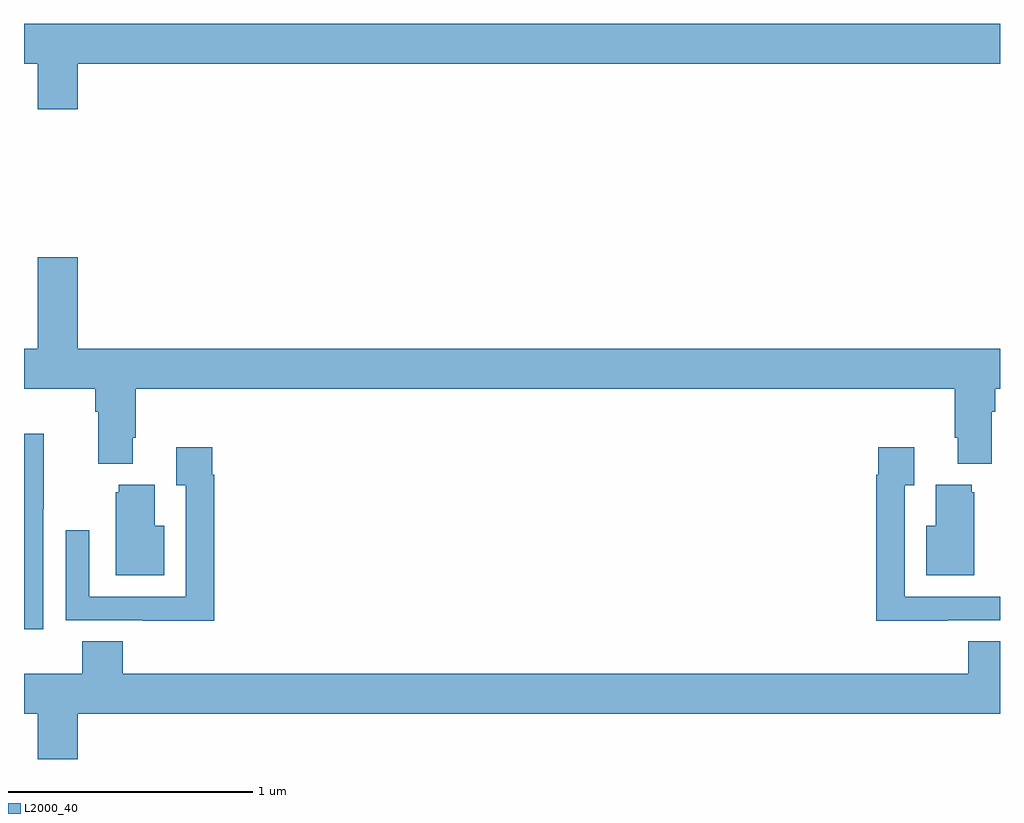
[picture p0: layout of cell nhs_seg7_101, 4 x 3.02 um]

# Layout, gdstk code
import gdstk
lib = gdstk.Library(unit=1e-6, precision=1e-09)
def P(c, l, *ps):  # polygons
    for p in ps: c.add(gdstk.Polygon(p, *l))
L2000_40 = (2000, 40)

nhs_seg7_101 = lib.new_cell('nhs_seg7_101')
P(nhs_seg7_101, L2000_40, [(117.22,1067.216),(121,1067.216),(121,1067.38),(117,1067.38),(117,1067.216),(117.056,1067.216),(117.056,1067.028),(117.22,1067.028)],
  [(117.22,1066.423),(117.056,1066.423),(117.056,1066.048),(117,1066.048),(117,1065.884),(117.293,1065.884),(117.293,1065.788),(117.305,1065.788),(117.305,1065.575),(117.445,1065.575),(117.445,1065.682),(117.458,1065.682),(117.458,1065.884),(120.815,1065.884),(120.815,1065.682),(120.827,1065.682),(120.827,1065.575),(120.967,1065.575),(120.967,1065.788),(120.98,1065.788),(120.98,1065.884),(121,1065.884),(121,1066.048),(117.22,1066.048)],
  [(117.078,1065.391),(117.081,1065.391),(117.081,1065.698),(117,1065.698),(117,1064.898),(117.078,1064.898)],
  [(117.779,1065.53),(117.772,1065.53),(117.772,1065.643),(117.623,1065.643),(117.623,1065.487),(117.663,1065.487),(117.663,1065.03),(117.267,1065.03),(117.267,1065.304),(117.171,1065.304),(117.171,1064.934),(117.487,1064.934),(117.487,1064.933),(117.779,1064.933)],
  [(120.785,1064.934),(121,1064.934),(121,1065.03),(120.609,1065.03),(120.609,1065.487),(120.649,1065.487),(120.649,1065.643),(120.501,1065.643),(120.501,1065.53),(120.493,1065.53),(120.493,1064.933),(120.785,1064.933)],
  [(120.895,1065.459),(120.884,1065.459),(120.884,1065.49),(120.737,1065.49),(120.737,1065.322),(120.698,1065.322),(120.698,1065.119),(120.895,1065.119)],
  [(117.574,1065.322),(117.535,1065.322),(117.535,1065.49),(117.389,1065.49),(117.389,1065.459),(117.377,1065.459),(117.377,1065.119),(117.574,1065.119)],
  [(117.22,1064.552),(121,1064.552),(121,1064.849),(120.869,1064.849),(120.869,1064.716),(117.404,1064.716),(117.404,1064.849),(117.239,1064.849),(117.239,1064.716),(117,1064.716),(117,1064.552),(117.056,1064.552),(117.056,1064.364),(117.22,1064.364)])

lib.write_gds('nhs_seg7_101.gds')
